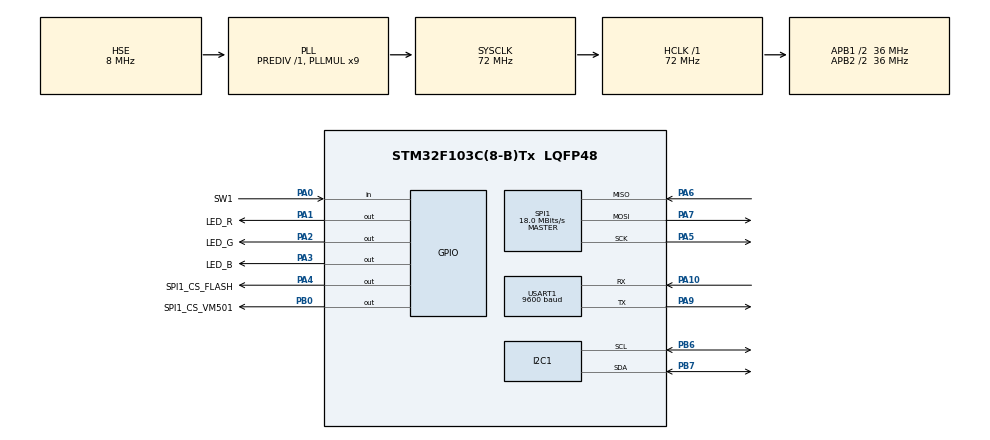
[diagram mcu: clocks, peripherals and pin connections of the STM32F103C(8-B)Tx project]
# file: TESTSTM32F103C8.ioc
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Mcu.Family=STM32F1
Mcu.Name=STM32F103C(8-B)Tx
Mcu.Package=LQFP48
NVIC.PriorityGroup=NVIC_PRIORITYGROUP_4
PA0-WKUP.GPIO_Label=SW1
PA0-WKUP.Signal=GPIO_Input
PA1.GPIO_Label=LED_R
PA1.GPIO_ModeDefaultOutputPP=GPIO_MODE_OUTPUT_OD
PA1.GPIO_PuPd=GPIO_PULLUP
PA1.PinState=GPIO_PIN_SET
PA1.Signal=GPIO_Output
PA10.Mode=Asynchronous
PA10.Signal=USART1_RX
PA13.Mode=Serial_Wire
PA13.Signal=SYS_JTMS-SWDIO
PA14.Mode=Serial_Wire
PA14.Signal=SYS_JTCK-SWCLK
PA2.GPIO_Label=LED_G
PA2.GPIO_ModeDefaultOutputPP=GPIO_MODE_OUTPUT_OD
PA2.GPIO_PuPd=GPIO_PULLUP
PA2.Signal=GPIO_Output
PA3.GPIO_Label=LED_B
PA3.GPIO_ModeDefaultOutputPP=GPIO_MODE_OUTPUT_OD
PA3.GPIO_PuPd=GPIO_PULLUP
PA3.Signal=GPIO_Output
PA4.GPIO_Label=SPI1_CS_FLASH
PA4.PinState=GPIO_PIN_SET
PA4.Signal=GPIO_Output
PA5.Mode=Full_Duplex_Master
PA5.Signal=SPI1_SCK
PA6.Mode=Full_Duplex_Master
PA6.Signal=SPI1_MISO
PA7.Mode=Full_Duplex_Master
PA7.Signal=SPI1_MOSI
PA9.Mode=Asynchronous
PA9.Signal=USART1_TX
PB0.GPIO_Label=SPI1_CS_VM501
PB0.PinState=GPIO_PIN_SET
PB0.Signal=GPIO_Output
PB6.Mode=I2C
PB6.Signal=I2C1_SCL
PB7.Mode=I2C
PB7.Signal=I2C1_SDA
PC14-OSC32_IN.Mode=LSE-External-Oscillator
PC14-OSC32_IN.Signal=RCC_OSC32_IN
PC15-OSC32_OUT.Mode=LSE-External-Oscillator
PC15-OSC32_OUT.Signal=RCC_OSC32_OUT
PD0-OSC_IN.Mode=HSE-External-Oscillator
PD0-OSC_IN.Signal=RCC_OSC_IN
PD1-OSC_OUT.Mode=HSE-External-Oscillator
PD1-OSC_OUT.Signal=RCC_OSC_OUT
ProjectManager.HeapSize=0x200
ProjectManager.StackSize=0x400
ProjectManager.TargetToolchain=MDK-ARM V5.32
RCC.ADCPresc=RCC_ADCPCLK2_DIV4
RCC.AHBFreq_Value=72000000
RCC.APB1CLKDivider=RCC_HCLK_DIV2
RCC.APB1Freq_Value=36000000
RCC.APB1TimFreq_Value=72000000
RCC.APB2CLKDivider=RCC_HCLK_DIV2
RCC.APB2Freq_Value=36000000
RCC.APB2TimFreq_Value=72000000
RCC.HCLKFreq_Value=72000000
RCC.PLLMUL=RCC_PLL_MUL9
RCC.PLLSourceVirtual=RCC_PLLSOURCE_HSE
RCC.RTCClockSelection=RCC_RTCCLKSOURCE_LSE
RCC.SYSCLKFreq_VALUE=72000000
RCC.SYSCLKSource=RCC_SYSCLKSOURCE_PLLCLK
RCC.USBFreq_Value=72000000
SPI1.BaudRatePrescaler=SPI_BAUDRATEPRESCALER_2
SPI1.CalculateBaudRate=18.0 MBits/s
SPI1.Direction=SPI_DIRECTION_2LINES
SPI1.Mode=SPI_MODE_MASTER
SPI1.VirtualType=VM_MASTER
TIM2.Period=99
TIM2.Prescaler=719
USART1.BaudRate=9600
USART1.VirtualMode=VM_ASYNC
VP_TIM2_VS_ClockSourceINT.Mode=Internal
board=custom

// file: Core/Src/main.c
/* USER CODE BEGIN Header */
/**
  ******************************************************************************
  * @file           : main.c
  * @brief          : Main program body
  ******************************************************************************
  * @attention
  *
  * <h2><center>&copy; Copyright (c) 2021 STMicroelectronics.
  * All rights reserved.</center></h2>
  *
  * This software component is licensed by ST under BSD 3-Clause license,
  * the "License"; You may not use this file except in compliance with the
  * License. You may obtain a copy of the License at:
  *                        opensource.org/licenses/BSD-3-Clause
  *
  ******************************************************************************
  */
/* USER CODE END Header */
#include "main.h"
#include "i2c.h"
#include "spi.h"
#include "tim.h"
#include "usart.h"
#include "gpio.h"

/* USER CODE BEGIN Includes */
#include "Lib/w25qxx.h"
#include "Lib/ee24.h"
#include "ht1621b.h"
#include "rbt_delay.h"
/* USER CODE END Includes */

/* USER CODE BEGIN PV */
uint32_t sysclk;
uint32_t pclk1, pclk2;
/* USER CODE END PV */

void SystemClock_Config(void);

int main(void)
{

  /* MCU Configuration--------------------------------------------------------*/

  /* Reset of all peripherals, Initializes the Flash interface and the Systick. */
  HAL_Init();

  /* Configure the system clock */
  SystemClock_Config();

  /* Initialize all configured peripherals */
  MX_GPIO_Init();
  MX_SPI1_Init();
  MX_TIM2_Init();
  MX_I2C1_Init();
  MX_USART1_UART_Init();
  /* USER CODE BEGIN 2 */
	RBT_Delay_Init();
	/* EEPROM R/W test, based on https://github.com/nimaltd/ee24 */
//	uint8_t testData[6] = {'C', 'H', 'I', 'N', 'G', 'O'};
//	uint8_t data[1024];
//  if (ee24_isConnected())
//  {
//		ee24_write(0, testData, 6, 1000);
//    ee24_read(0, data, 1024, 1000);
//  }
//

	/* SPI FLASH R/W test, based on https://github.com/nimaltd/w25qxx */
	// block: 64k (16 sector), sector = 4kb (16 page), page = 256byte
	// 1Mb = 16 block = 256 sector = 4096 page
	// 8Mb = 128 block = 2048 sector = 32768 page
//	W25qxx_Init();
//	uint8_t wbuffer[6] = {'C', 'H', 'I', 'N', 'G', 'O'};
//	uint8_t rbuffer[6];
//	W25qxx_ReadSector(rbuffer, 1, 0, 6);
//	W25qxx_EraseSector(1);
//	W25qxx_ReadSector(rbuffer, 1, 0, 6);
//	W25qxx_WriteSector(wbuffer, 1, 0, 6);
  /* USER CODE END 2 */

  /* Infinite loop */
  /* USER CODE BEGIN WHILE */

	// HT1621B液晶屏演示
	HT1621B_Init();
	RBT_Delay_MS(10);
	//HT1621B_Scan(0, 11);
	// 清空液晶屏显示
	HT1621B_TurnOff_All();
//	// 显示信号等级（从0到3）
//	QYH04418_Signal(0);
//	HAL_Delay(500);
//	QYH04418_Signal(1);
//	HAL_Delay(500);
//	QYH04418_Signal(2);
//	HAL_Delay(1500);
//	QYH04418_Signal(3);
//	HAL_Delay(1500);
//	// 显示摄氏度（含单位）
//	QYH04418_Celsius(27.3, 4);
//	HAL_Delay(1500);
	// 显示百分比（含百分比符号）
	QYH04418_Percent("0.1", 3);
	HAL_Delay(1000);
	QYH04418_Celsius("13.8", 4);
	HAL_Delay(1000);
	QYH04418_Percent("16384", 5);
	HAL_Delay(1000);
	QYH04418_Percent("-999.9", 6);
	HAL_Delay(1000);
	QYH04418_Percent("---", 3);
	HAL_Delay(1000);
	QYH04418_Percent("-.-.-", 5);
	HAL_Delay(1000);
	QYH04418_Percent("1.2.3.4.5.", 10);
	HAL_Delay(1000);
	QYH04418_Celsius("0", 1);
	HAL_Delay(1000);
	QYH04418_Percent("00000", 5);
	HAL_Delay(1000);
	QYH04418_Celsius("0.0", 3);
	HAL_Delay(1000);
	QYH04418_Percent("000000", 6);
	HAL_Delay(1000);
	QYH04418_Percent("1234567.8", 9);
	HAL_Delay(1000);
	uint8_t pData[256];
  while (1)
  {
    /* USER CODE END WHILE */

    /* USER CODE BEGIN 3 */
		HAL_StatusTypeDef result = HAL_UART_Receive(&huart1, pData, 256, 50);
		uint8_t j;
		if (result == HAL_OK) {
			for (int i = 0; i < 256; i ++) {
				j = pData[i];
			}
		}
		else if (result == HAL_ERROR) {
			j = 0;
		}
		else if (result == HAL_TIMEOUT) {
			j = 1;
		}

		HAL_GPIO_TogglePin(LED_R_GPIO_Port, LED_R_Pin);
		HAL_Delay(500);

		sysclk = HAL_RCC_GetSysClockFreq();
		pclk1 = HAL_RCC_GetPCLK1Freq();
		pclk2 = HAL_RCC_GetPCLK2Freq();
  }
  /* USER CODE END 3 */
}

void SystemClock_Config(void)
{
  RCC_OscInitTypeDef RCC_OscInitStruct = {0};
  RCC_ClkInitTypeDef RCC_ClkInitStruct = {0};

  /** Initializes the RCC Oscillators according to the specified parameters
  * in the RCC_OscInitTypeDef structure.
  */
  RCC_OscInitStruct.OscillatorType = RCC_OSCILLATORTYPE_HSE;
  RCC_OscInitStruct.HSEState = RCC_HSE_ON;
  RCC_OscInitStruct.HSEPredivValue = RCC_HSE_PREDIV_DIV1;
  RCC_OscInitStruct.HSIState = RCC_HSI_ON;
  RCC_OscInitStruct.PLL.PLLState = RCC_PLL_ON;
  RCC_OscInitStruct.PLL.PLLSource = RCC_PLLSOURCE_HSE;
  RCC_OscInitStruct.PLL.PLLMUL = RCC_PLL_MUL9;
  if (HAL_RCC_OscConfig(&RCC_OscInitStruct) != HAL_OK)
  {
    Error_Handler();
  }
  /** Initializes the CPU, AHB and APB buses clocks
  */
  RCC_ClkInitStruct.ClockType = RCC_CLOCKTYPE_HCLK|RCC_CLOCKTYPE_SYSCLK
                              |RCC_CLOCKTYPE_PCLK1|RCC_CLOCKTYPE_PCLK2;
  RCC_ClkInitStruct.SYSCLKSource = RCC_SYSCLKSOURCE_PLLCLK;
  RCC_ClkInitStruct.AHBCLKDivider = RCC_SYSCLK_DIV1;
  RCC_ClkInitStruct.APB1CLKDivider = RCC_HCLK_DIV2;
  RCC_ClkInitStruct.APB2CLKDivider = RCC_HCLK_DIV2;

  if (HAL_RCC_ClockConfig(&RCC_ClkInitStruct, FLASH_LATENCY_2) != HAL_OK)
  {
    Error_Handler();
  }
}

void Error_Handler(void)
{
  __disable_irq();
  while (1)
  {
  }
}

/************************ (C) COPYRIGHT STMicroelectronics *****END OF FILE****/
